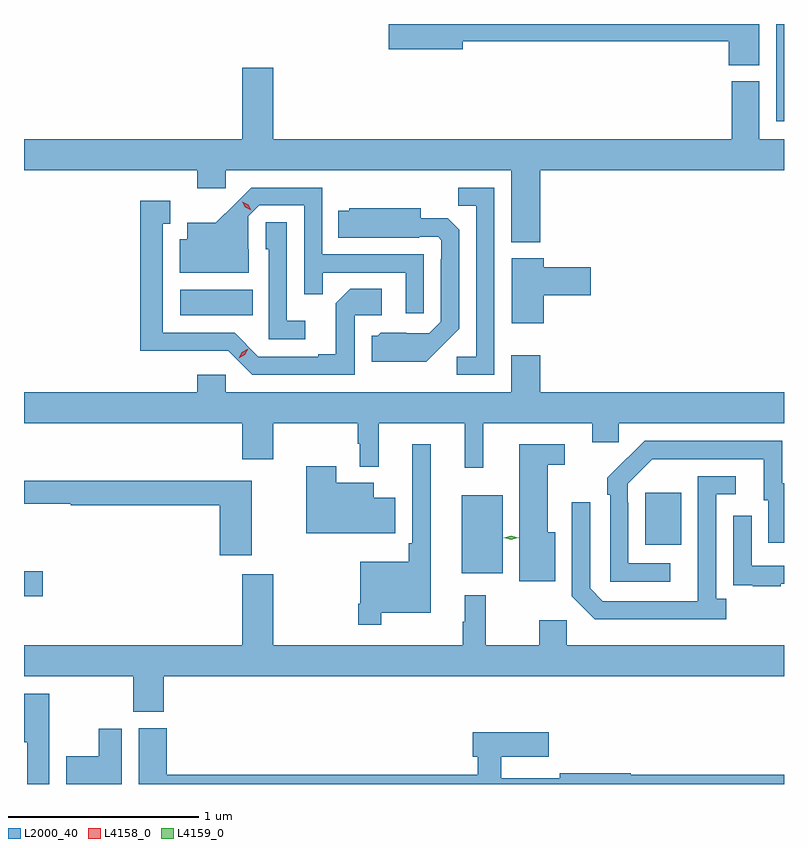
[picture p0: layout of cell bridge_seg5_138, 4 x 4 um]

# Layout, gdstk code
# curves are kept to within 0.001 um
import gdstk
lib = gdstk.Library(unit=1e-6, precision=1e-09)
def R(c, l, rs):  # rectangles x0, y0, x1, y1
    for r in rs: c.add(gdstk.rectangle(r[:2], r[2:], *l))
def P(c, l, *ps):  # polygons
    for p in ps: c.add(gdstk.Polygon(p, *l))
L2000_40 = (2000, 40)
L4158_0 = (4158, 0)
L4159_0 = (4159, 0)

bridge_seg5_138 = lib.new_cell('bridge_seg5_138')
R(bridge_seg5_138, L2000_40, [(307.715,877.163,307.813,877.293), (310.019,877.283,310.234,877.693), (310.985,877.433,311.173,877.708), (308.538,878.642,308.918,878.776), (311.673,879.662,311.715,880.174)])
P(bridge_seg5_138, L2000_40, [(311.584,880.174),(309.636,880.174),(309.636,880.042),(310.024,880.042),(310.024,880.084),(311.423,880.084),(311.423,879.958),(311.584,879.958)],
  [(310.433,879.404),(311.715,879.404),(311.715,879.568),(311.584,879.568),(311.584,879.873),(311.441,879.873),(311.441,879.568),(309.028,879.568),(309.028,879.943),(308.864,879.943),(308.864,879.568),(307.715,879.568),(307.715,879.404),(308.627,879.404),(308.627,879.309),(308.778,879.309),(308.778,879.404),(310.28,879.404),(310.28,879.026),(310.433,879.026)],
  [(309.819,878.961),(309.285,878.961),(309.285,879.312),(308.912,879.312),(308.725,879.127),(308.573,879.127),(308.573,879.04),(308.534,879.04),(308.534,878.864),(308.899,878.864),(308.899,878.988),(308.895,878.988),(308.895,879.162),(308.952,879.219),(309.189,879.219),(309.189,878.752),(309.287,878.752),(309.287,878.865),(309.723,878.865),(309.723,878.652),(309.819,878.652)],
  [(310.191,879.312),(310,879.312),(310,879.217),(310.095,879.217),(310.095,878.424),(309.993,878.424),(309.993,878.328),(310.191,878.328)],
  [(309.456,878.64),(309.598,878.64),(309.598,878.78),(309.433,878.78),(309.357,878.704),(309.357,878.437),(309.263,878.437),(309.263,878.424),(308.949,878.424),(308.823,878.55),(308.446,878.55),(308.446,879.123),(308.485,879.123),(308.485,879.244),(308.328,879.244),(308.328,878.453),(308.79,878.454),(308.916,878.328),(309.456,878.328)],
  [(309.913,878.477),(310.005,878.57),(310.005,879.092),(309.946,879.151),(309.802,879.151),(309.802,879.205),(309.426,879.205),(309.426,879.19),(309.37,879.19),(309.37,879.05),(309.794,879.05),(309.794,879.054),(309.894,879.054),(309.912,879.036),(309.912,878.936),(309.909,878.936),(309.909,878.607),(309.849,878.547),(309.592,878.548),(309.576,878.532),(309.545,878.532),(309.545,878.396),(309.833,878.396)],
  [(309.196,878.611),(309.099,878.611),(309.099,879.131),(308.988,879.131),(308.988,878.988),(309.003,878.988),(309.003,878.514),(309.196,878.514)],
  [(310.45,878.747),(310.699,878.747),(310.699,878.894),(310.45,878.894),(310.45,878.941),(310.283,878.941),(310.283,878.598),(310.45,878.598)],
  [(310.133,878.072),(310.706,878.072),(310.706,877.974),(310.845,877.974),(310.845,878.072),(311.715,878.072),(311.715,878.236),(310.433,878.236),(310.433,878.431),(310.28,878.431),(310.28,878.236),(308.778,878.236),(308.778,878.329),(308.627,878.329),(308.627,878.236),(307.715,878.236),(307.715,878.072),(308.864,878.072),(308.864,877.884),(309.028,877.884),(309.028,878.072),(309.471,878.072),(309.471,877.965),(309.483,877.965),(309.483,877.844),(309.581,877.844),(309.581,878.072),(310.034,878.072),(310.034,877.839),(310.133,877.839)],
  [(311.116,877.335),(310.896,877.335),(310.896,877.655),(310.893,877.655),(310.893,877.755),(311.022,877.884),(311.609,877.884),(311.609,877.668),(311.633,877.668),(311.633,877.443),(311.715,877.443),(311.715,877.758),(311.706,877.758),(311.706,877.98),(310.982,877.98),(310.785,877.785),(310.785,877.697),(310.8,877.697),(310.8,877.239),(311.116,877.239)],
  [(309.595,877.076),(309.856,877.076),(309.856,877.963),(309.759,877.963),(309.759,877.441),(309.739,877.441),(309.739,877.345),(309.486,877.345),(309.486,877.123),(309.474,877.123),(309.474,877.011),(309.595,877.011)],
  [(310.51,877.498),(310.471,877.498),(310.471,877.854),(310.561,877.854),(310.561,877.962),(310.322,877.962),(310.322,877.241),(310.51,877.241)],
  [(309.67,877.681),(309.556,877.681),(309.556,877.759),(309.358,877.759),(309.358,877.846),(309.2,877.846),(309.2,877.493),(309.67,877.493)],
  [(311.41,877.15),(311.358,877.15),(311.358,877.698),(311.461,877.698),(311.461,877.794),(311.262,877.794),(311.261,877.137),(310.761,877.137),(310.695,877.203),(310.695,877.657),(310.599,877.657),(310.599,877.161),(310.72,877.04),(311.41,877.04)],
  [(308.914,877.771),(307.715,877.771),(307.715,877.65),(307.96,877.65),(307.96,877.642),(308.744,877.642),(308.744,877.377),(308.914,877.377)],
  [(311.699,877.227),(311.715,877.227),(311.715,877.323),(311.544,877.323),(311.544,877.585),(311.448,877.585),(311.448,877.33),(311.449,877.33),(311.449,877.221),(311.551,877.221),(311.551,877.215),(311.699,877.215)],
  [(308.45,876.74),(311.715,876.74),(311.715,876.904),(310.572,876.904),(310.572,877.036),(310.426,877.036),(310.426,876.904),(310.144,876.904),(310.144,877.168),(310.034,877.168),(310.034,877.028),(310.023,877.028),(310.023,876.904),(309.028,876.904),(309.028,877.279),(308.864,877.279),(308.864,876.904),(307.715,876.904),(307.715,876.74),(308.29,876.74),(308.29,876.553),(308.45,876.553)],
  [(307.849,876.649),(307.715,876.649),(307.715,876.395),(307.733,876.395),(307.733,876.174),(307.849,876.174)],
  [(311.715,876.224),(310.908,876.224),(310.908,876.23),(310.536,876.23),(310.536,876.204),(310.228,876.204),(310.228,876.317),(310.477,876.317),(310.477,876.447),(310.076,876.447),(310.076,876.317),(310.103,876.317),(310.103,876.224),(308.465,876.224),(308.465,876.468),(308.318,876.468),(308.318,876.174),(311.715,876.174)],
  [(308.23,876.466),(308.108,876.466),(308.108,876.319),(307.937,876.319),(307.937,876.174),(308.23,876.174)])
P(bridge_seg5_138, L4158_0, [(308.91,879.194),(308.88,879.209),(308.863,879.239),(308.863,879.239),(308.863,879.239),(308.894,879.224),(308.91,879.194),(308.91,879.194)],
  [(308.844,878.414),(308.844,878.414),(308.862,878.447),(308.894,878.466),(308.894,878.466),(308.894,878.466),(308.876,878.433),(308.844,878.414)])
P(bridge_seg5_138, L4159_0, [(310.279,877.46),(310.24,877.47),(310.24,877.47),(310.24,877.471),(310.279,877.48),(310.317,877.47),(310.318,877.47),(310.317,877.469)])

lib.write_gds('bridge_seg5_138.gds')
